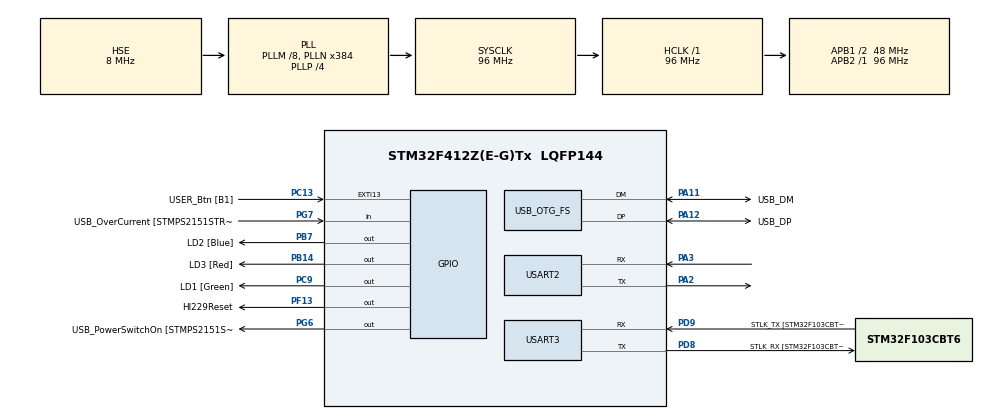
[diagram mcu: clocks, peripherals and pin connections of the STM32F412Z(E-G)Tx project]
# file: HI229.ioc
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Mcu.Family=STM32F4
Mcu.Name=STM32F412Z(E-G)Tx
Mcu.Package=LQFP144
NVIC.PriorityGroup=NVIC_PRIORITYGROUP_4
NVIC.USART2_IRQn=true\:0\:0\:false\:false\:true\:true\:true
PA10.GPIO_Label=USB_ID
PA10.Signal=USB_OTG_FS_ID
PA11.GPIO_Label=USB_DM
PA11.Mode=Device_Only
PA11.Signal=USB_OTG_FS_DM
PA12.GPIO_Label=USB_DP
PA12.Mode=Device_Only
PA12.Signal=USB_OTG_FS_DP
PA13.GPIO_Label=TMS
PA13.Mode=Serial_Wire
PA13.Signal=SYS_JTMS-SWDIO
PA14.GPIO_Label=TCK
PA14.Mode=Serial_Wire
PA14.Signal=SYS_JTCK-SWCLK
PA2.Mode=Asynchronous
PA2.Signal=USART2_TX
PA3.Mode=Asynchronous
PA3.Signal=USART2_RX
PA8.GPIO_Label=USB_SOF [TP1]
PA8.Signal=USB_OTG_FS_SOF
PA9.GPIO_Label=USB_VBUS
PA9.Signal=USB_OTG_FS_VBUS
PB14.GPIO_Label=LD3 [Red]
PB14.Signal=GPIO_Output
PB3.GPIO_Label=SWO
PB3.Signal=SYS_JTDO-SWO
PB7.GPIO_Label=LD2 [Blue]
PB7.Signal=GPIO_Output
PC13.GPIO_Label=USER_Btn [B1]
PC13.Signal=GPXTI13
PC14-OSC32_IN.Mode=LSE-External-Oscillator
PC14-OSC32_IN.Signal=RCC_OSC32_IN
PC15-OSC32_OUT.Mode=LSE-External-Oscillator
PC15-OSC32_OUT.Signal=RCC_OSC32_OUT
PC9.GPIO_Label=LD1 [Green]
PC9.Signal=GPIO_Output
PD8.GPIO_Label=STLK_RX [STM32F103CBT6_PA3]
PD8.Mode=Asynchronous
PD8.Signal=USART3_TX
PD9.GPIO_Label=STLK_TX [STM32F103CBT6_PA2]
PD9.Mode=Asynchronous
PD9.Signal=USART3_RX
PF13.GPIO_Label=HI229Reset
PF13.Signal=GPIO_Output
PG6.GPIO_Label=USB_PowerSwitchOn [STMPS2151STR_EN]
PG6.Signal=GPIO_Output
PG7.GPIO_Label=USB_OverCurrent [STMPS2151STR_FAULT]
PG7.Signal=GPIO_Input
PH0\ -\ OSC_IN.GPIO_Label=MCO
PH0\ -\ OSC_IN.Mode=HSE-External-Clock-Source
PH0\ -\ OSC_IN.Signal=RCC_OSC_IN
PH1\ -\ OSC_OUT.Mode=HSE-External-Clock-Source
PH1\ -\ OSC_OUT.Signal=RCC_OSC_OUT
ProjectManager.HeapSize=0x200
ProjectManager.StackSize=0x400
ProjectManager.TargetToolchain=MDK-ARM V5
RCC.48MHZClocksFreq_Value=24000000
RCC.AHBFreq_Value=96000000
RCC.APB1CLKDivider=RCC_HCLK_DIV2
RCC.APB1Freq_Value=48000000
RCC.APB1TimFreq_Value=96000000
RCC.APB2Freq_Value=96000000
RCC.APB2TimFreq_Value=96000000
RCC.CortexFreq_Value=96000000
RCC.HCLKFreq_Value=96000000
RCC.HSE_VALUE=8000000
RCC.HSI_VALUE=16000000
RCC.PLLM=8
RCC.PLLMUL=RCC_PLL_MUL9
RCC.PLLN=384
RCC.PLLP=RCC_PLLP_DIV4
RCC.PLLQ=8
RCC.PLLSourceVirtual=RCC_PLLSOURCE_HSE
RCC.PRESCALERUSB=RCC_USBCLKSOURCE_PLL_DIV1_5
RCC.SYSCLKFreq_VALUE=96000000
RCC.SYSCLKSource=RCC_SYSCLKSOURCE_PLLCLK
RCC.SYSCLKSourceVirtual=RCC_SYSCLKSOURCE_PLLCLK
RCC.USBFreq_Value=48000000
RCC.VCOOutputFreq_Value=384000000
USART2.VirtualMode=VM_ASYNC
USART3.VirtualMode=VM_ASYNC
USB_OTG_FS.VirtualMode=Device_Only
board=NUCLEO-F412ZG

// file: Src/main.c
/* USER CODE BEGIN Header */
/**
  ******************************************************************************
  * @file           : main.c
  * @brief          : Main program body
  ******************************************************************************
  * @attention
  *
  * <h2><center>&copy; Copyright (c) 2020 STMicroelectronics.
  * All rights reserved.</center></h2>
  *
  * This software component is licensed by ST under BSD 3-Clause license,
  * the "License"; You may not use this file except in compliance with the
  * License. You may obtain a copy of the License at:
  *                        opensource.org/licenses/BSD-3-Clause
  *
  ******************************************************************************
  */
/* USER CODE END Header */

#include "main.h"
#include "usart.h"
#include "usb_otg.h"
#include "gpio.h"

/* USER CODE BEGIN Includes */

#include "HI229.h"
/* USER CODE END Includes */

/* USER CODE BEGIN PTD */
#if defined(__GNUC__)
int _write(int fd, char * ptr, int len)
{
  HAL_UART_Transmit(&huart1, (uint8_t *) ptr, len, HAL_MAX_DELAY);
  return len;
}
#elif defined (__ICCARM__)
#include "LowLevelIOInterface.h"
size_t __write(int handle, const unsigned char * buffer, size_t size)
{
  HAL_UART_Transmit(&huart1, (uint8_t *) buffer, size, HAL_MAX_DELAY);
  return size;
}
#elif defined (__CC_ARM)
int fputc(int ch, FILE *f)
{
    HAL_UART_Transmit(&huart3, (uint8_t *)&ch, 1, 50);
	//HAL_MAX_DELAY
    return ch;
}
#endif
/* USER CODE END PTD */

void SystemClock_Config(void);

int main(void)
{

  /* MCU Configuration--------------------------------------------------------*/

  /* Reset of all peripherals, Initializes the Flash interface and the Systick. */
  HAL_Init();

  /* Configure the system clock */
  SystemClock_Config();

  /* Initialize all configured peripherals */
  MX_GPIO_Init();
  MX_USART2_UART_Init();
  MX_USART3_UART_Init();
  MX_USB_OTG_FS_PCD_Init();
  /* USER CODE BEGIN 2 */
	//HAL_UART_Transmit(&huart3,(uint8_t *)"HIHI!",sizeof("HIHI!"),500);
	HI229_Init(&huart2);
  /* USER CODE END 2 */

  /* Infinite loop */
  /* USER CODE BEGIN WHILE */
  while (1)
  {
		//HAL_Delay(2);
		HI229_Update();
		printf("mag: %f\t%f\t%f\r\n",dat.mag[0],dat.mag[1],dat.mag[2]);
    /* USER CODE END WHILE */
  }
}

void SystemClock_Config(void)
{
  RCC_OscInitTypeDef RCC_OscInitStruct = {0};
  RCC_ClkInitTypeDef RCC_ClkInitStruct = {0};
  RCC_PeriphCLKInitTypeDef PeriphClkInitStruct = {0};

  /** Configure the main internal regulator output voltage
  */
  __HAL_RCC_PWR_CLK_ENABLE();
  __HAL_PWR_VOLTAGESCALING_CONFIG(PWR_REGULATOR_VOLTAGE_SCALE1);
  /** Initializes the CPU, AHB and APB busses clocks
  */
  RCC_OscInitStruct.OscillatorType = RCC_OSCILLATORTYPE_HSE;
  RCC_OscInitStruct.HSEState = RCC_HSE_BYPASS;
  RCC_OscInitStruct.PLL.PLLState = RCC_PLL_ON;
  RCC_OscInitStruct.PLL.PLLSource = RCC_PLLSOURCE_HSE;
  RCC_OscInitStruct.PLL.PLLM = 8;
  RCC_OscInitStruct.PLL.PLLN = 384;
  RCC_OscInitStruct.PLL.PLLP = RCC_PLLP_DIV4;
  RCC_OscInitStruct.PLL.PLLQ = 8;
  RCC_OscInitStruct.PLL.PLLR = 2;
  if (HAL_RCC_OscConfig(&RCC_OscInitStruct) != HAL_OK)
  {
    Error_Handler();
  }
  /** Initializes the CPU, AHB and APB busses clocks
  */
  RCC_ClkInitStruct.ClockType = RCC_CLOCKTYPE_HCLK|RCC_CLOCKTYPE_SYSCLK
                              |RCC_CLOCKTYPE_PCLK1|RCC_CLOCKTYPE_PCLK2;
  RCC_ClkInitStruct.SYSCLKSource = RCC_SYSCLKSOURCE_PLLCLK;
  RCC_ClkInitStruct.AHBCLKDivider = RCC_SYSCLK_DIV1;
  RCC_ClkInitStruct.APB1CLKDivider = RCC_HCLK_DIV2;
  RCC_ClkInitStruct.APB2CLKDivider = RCC_HCLK_DIV1;

  if (HAL_RCC_ClockConfig(&RCC_ClkInitStruct, FLASH_LATENCY_3) != HAL_OK)
  {
    Error_Handler();
  }
  PeriphClkInitStruct.PeriphClockSelection = RCC_PERIPHCLK_CLK48;
  PeriphClkInitStruct.Clk48ClockSelection = RCC_CLK48CLKSOURCE_PLLQ;
  if (HAL_RCCEx_PeriphCLKConfig(&PeriphClkInitStruct) != HAL_OK)
  {
    Error_Handler();
  }
}

void Error_Handler(void)
{
}

/************************ (C) COPYRIGHT STMicroelectronics *****END OF FILE****/
